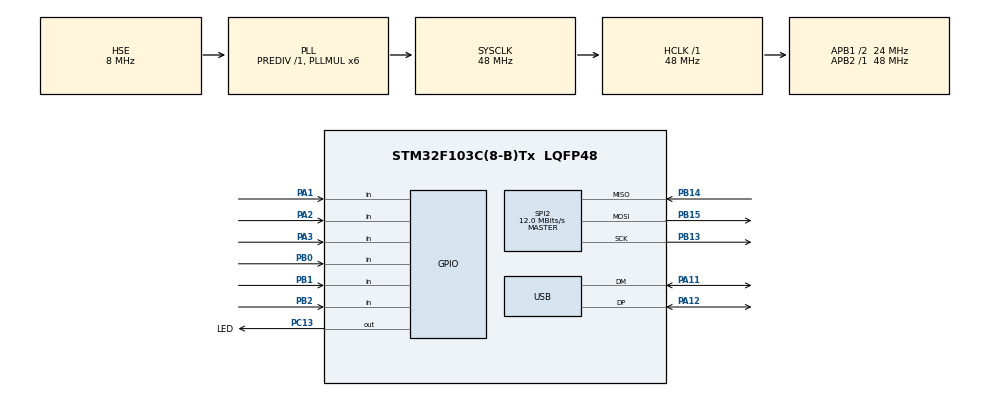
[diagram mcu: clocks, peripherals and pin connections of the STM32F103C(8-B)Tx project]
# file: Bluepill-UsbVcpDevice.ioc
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ADC1.Channel-13\#ChannelRegularConversion=ADC_CHANNEL_TEMPSENSOR
ADC1.ContinuousConvMode=DISABLE
ADC1.ExternalTrigConv=ADC_EXTERNALTRIGCONV_T4_CC4
ADC1.NbrOfConversionFlag=1
ADC1.Rank-13\#ChannelRegularConversion=1
ADC1.SamplingTime-13\#ChannelRegularConversion=ADC_SAMPLETIME_239CYCLES_5
ADC1.master=1
Mcu.Family=STM32F1
Mcu.Name=STM32F103C(8-B)Tx
Mcu.Package=LQFP48
NVIC.ADC1_2_IRQn=true\:0\:0\:false\:false\:true\:true\:true
NVIC.PriorityGroup=NVIC_PRIORITYGROUP_4
NVIC.TIM4_IRQn=true\:0\:0\:false\:false\:true\:true\:true
NVIC.USB_LP_CAN1_RX0_IRQn=true\:0\:0\:false\:false\:true\:false\:true
PA1.Signal=GPIO_Input
PA11.Mode=Device
PA11.Signal=USB_DM
PA12.Mode=Device
PA12.Signal=USB_DP
PA2.Signal=GPIO_Input
PA3.Signal=GPIO_Input
PB0.Signal=GPIO_Input
PB1.Signal=GPIO_Input
PB13.Mode=Full_Duplex_Master
PB13.Signal=SPI2_SCK
PB14.Mode=Full_Duplex_Master
PB14.Signal=SPI2_MISO
PB15.Mode=Full_Duplex_Master
PB15.Signal=SPI2_MOSI
PB2.Signal=GPIO_Input
PC13-TAMPER-RTC.GPIO_Label=LED
PC13-TAMPER-RTC.GPIO_ModeDefaultOutputPP=GPIO_MODE_OUTPUT_PP
PC13-TAMPER-RTC.GPIO_PuPd=GPIO_PULLUP
PC13-TAMPER-RTC.GPIO_Speed=GPIO_SPEED_FREQ_LOW
PC13-TAMPER-RTC.PinState=GPIO_PIN_SET
PC13-TAMPER-RTC.Signal=GPIO_Output
PC14-OSC32_IN.Mode=LSE-External-Oscillator
PC14-OSC32_IN.Signal=RCC_OSC32_IN
PC15-OSC32_OUT.Mode=LSE-External-Oscillator
PC15-OSC32_OUT.Signal=RCC_OSC32_OUT
PD0-OSC_IN.Mode=HSE-External-Oscillator
PD0-OSC_IN.Signal=RCC_OSC_IN
PD1-OSC_OUT.Mode=HSE-External-Oscillator
PD1-OSC_OUT.Signal=RCC_OSC_OUT
ProjectManager.HeapSize=0x600
ProjectManager.StackSize=0x400
ProjectManager.TargetToolchain=Makefile
RCC.ADCPresc=RCC_ADCPCLK2_DIV4
RCC.AHBFreq_Value=48000000
RCC.APB1CLKDivider=RCC_HCLK_DIV2
RCC.APB1Freq_Value=24000000
RCC.APB1TimFreq_Value=48000000
RCC.APB2Freq_Value=48000000
RCC.APB2TimFreq_Value=48000000
RCC.HCLKFreq_Value=48000000
RCC.PLLMUL=RCC_PLL_MUL6
RCC.PLLSourceVirtual=RCC_PLLSOURCE_HSE
RCC.SYSCLKFreq_VALUE=48000000
RCC.SYSCLKSource=RCC_SYSCLKSOURCE_PLLCLK
RCC.USBFreq_Value=48000000
SPI2.CalculateBaudRate=12.0 MBits/s
SPI2.Direction=SPI_DIRECTION_2LINES
SPI2.Mode=SPI_MODE_MASTER
SPI2.VirtualType=VM_MASTER
TIM4.Channel-Output\ Compare4\ No\ Output=TIM_CHANNEL_4
TIM4.ClockDivision=TIM_CLOCKDIVISION_DIV1
TIM4.OCMode_4=TIM_OCMODE_TOGGLE
TIM4.Prescaler=32767
TIM4.Pulse-Output\ Compare4\ No\ Output=732
USB_DEVICE.CLASS_NAME_FS=CDC
USB_DEVICE.VirtualMode=Cdc
USB_DEVICE.VirtualModeFS=Cdc_FS
VP_ADC1_TempSens_Input.Mode=IN-TempSens
VP_SYS_VS_ND.Mode=No_Debug
VP_TIM4_VS_ClockSourceINT.Mode=Internal
VP_TIM4_VS_no_output4.Mode=Output Compare4 No Output
VP_USB_DEVICE_VS_USB_DEVICE_CDC_FS.Mode=CDC_FS
board=custom

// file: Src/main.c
/* USER CODE BEGIN Header */
/**
  ******************************************************************************
  * @file           : main.c
  * @brief          : Main program body
  ******************************************************************************
  * @attention
  *
  * <h2><center>&copy; Copyright (c) 2020 STMicroelectronics.
  * All rights reserved.</center></h2>
  *
  * This software component is licensed by ST under BSD 3-Clause license,
  * the "License"; You may not use this file except in compliance with the
  * License. You may obtain a copy of the License at:
  *                        opensource.org/licenses/BSD-3-Clause
  *
  ******************************************************************************
  */
/* USER CODE END Header */
#include "main.h"
#include "usb_device.h"

/* USER CODE BEGIN Includes */
#include "usbd_cdc_if.h"
#include "string.h"
#include "stdbool.h"

/* USER CODE END Includes */

ADC_HandleTypeDef hadc1;

SPI_HandleTypeDef hspi2;

TIM_HandleTypeDef htim4;

/* USER CODE BEGIN PV */

/* Interval calculation:
 *  + APB1 Timer clock : 48MHz
 *  + Timer Prescaler 16-bits : 32767
 *  + Internal Clock Division : 1 # No Clock Division in STM32F103C8T6 !!!!
 *  + Maximum interval [65536]: (1/(48000000/32767))*65536 = 1/1464.888 * 65536 = 44.7378s
 *  + CCR4 interval in 1 sec  : (1/(48000000/32767))*1464 = 0.999s
 */
uint16_t gui16Tim4CCR4Step = 1464; // 1 sec
uint32_t gui32StopSampling = 0;
/* USER CODE END PV */

void SystemClock_Config(void);
static void MX_GPIO_Init(void);
static void MX_SPI2_Init(void);
static void MX_ADC1_Init(void);
static void MX_TIM4_Init(void);

/* USER CODE BEGIN 0 */
const char *data = "Hello World from USB CDC\r\n";

/* USER CODE END 0 */

int main(void)
{

  /* MCU Configuration--------------------------------------------------------*/

  /* Reset of all peripherals, Initializes the Flash interface and the Systick. */
  HAL_Init();

  /* Configure the system clock */
  SystemClock_Config();

  /* Initialize all configured peripherals */
  MX_GPIO_Init();
  MX_USB_DEVICE_Init();
  MX_SPI2_Init();
  MX_ADC1_Init();
  MX_TIM4_Init();

  /* Infinite loop */
  /* USER CODE BEGIN WHILE */
  Turn_On_StatusLED();
  while (1)
  {
    /* USER CODE END WHILE */

    /* USER CODE BEGIN 3 */
    if ((gui16Tim4CCR4Step == 0) && (gui32StopSampling == 0)) {
      HAL_ADC_Stop_IT(&hadc1);
      HAL_TIM_OC_Stop_IT(&htim4, TIM_CHANNEL_4);
      gui16Tim4CCR4Step = 1464;
      Turn_On_StatusLED();
    }
  }
  /* USER CODE END 3 */
}

void SystemClock_Config(void)
{
  RCC_OscInitTypeDef RCC_OscInitStruct = {0};
  RCC_ClkInitTypeDef RCC_ClkInitStruct = {0};
  RCC_PeriphCLKInitTypeDef PeriphClkInit = {0};

  /** Initializes the RCC Oscillators according to the specified parameters
  * in the RCC_OscInitTypeDef structure.
  */
  RCC_OscInitStruct.OscillatorType = RCC_OSCILLATORTYPE_HSE;
  RCC_OscInitStruct.HSEState = RCC_HSE_ON;
  RCC_OscInitStruct.HSEPredivValue = RCC_HSE_PREDIV_DIV1;
  RCC_OscInitStruct.HSIState = RCC_HSI_ON;
  RCC_OscInitStruct.PLL.PLLState = RCC_PLL_ON;
  RCC_OscInitStruct.PLL.PLLSource = RCC_PLLSOURCE_HSE;
  RCC_OscInitStruct.PLL.PLLMUL = RCC_PLL_MUL6;
  if (HAL_RCC_OscConfig(&RCC_OscInitStruct) != HAL_OK)
  {
    Error_Handler();
  }
  /** Initializes the CPU, AHB and APB buses clocks
  */
  RCC_ClkInitStruct.ClockType = RCC_CLOCKTYPE_HCLK|RCC_CLOCKTYPE_SYSCLK
                              |RCC_CLOCKTYPE_PCLK1|RCC_CLOCKTYPE_PCLK2;
  RCC_ClkInitStruct.SYSCLKSource = RCC_SYSCLKSOURCE_PLLCLK;
  RCC_ClkInitStruct.AHBCLKDivider = RCC_SYSCLK_DIV1;
  RCC_ClkInitStruct.APB1CLKDivider = RCC_HCLK_DIV2;
  RCC_ClkInitStruct.APB2CLKDivider = RCC_HCLK_DIV1;

  if (HAL_RCC_ClockConfig(&RCC_ClkInitStruct, FLASH_LATENCY_1) != HAL_OK)
  {
    Error_Handler();
  }
  PeriphClkInit.PeriphClockSelection = RCC_PERIPHCLK_ADC|RCC_PERIPHCLK_USB;
  PeriphClkInit.AdcClockSelection = RCC_ADCPCLK2_DIV4;
  PeriphClkInit.UsbClockSelection = RCC_USBCLKSOURCE_PLL;
  if (HAL_RCCEx_PeriphCLKConfig(&PeriphClkInit) != HAL_OK)
  {
    Error_Handler();
  }
}

static void MX_ADC1_Init(void)
{

  ADC_ChannelConfTypeDef sConfig = {0};

  /** Common config
  */
  hadc1.Instance = ADC1;
  hadc1.Init.ScanConvMode = ADC_SCAN_DISABLE;
  hadc1.Init.ContinuousConvMode = DISABLE;
  hadc1.Init.DiscontinuousConvMode = DISABLE;
  hadc1.Init.ExternalTrigConv = ADC_EXTERNALTRIGCONV_T4_CC4;
  hadc1.Init.DataAlign = ADC_DATAALIGN_RIGHT;
  hadc1.Init.NbrOfConversion = 1;
  if (HAL_ADC_Init(&hadc1) != HAL_OK)
  {
    Error_Handler();
  }
  /** Configure Regular Channel
  */
  sConfig.Channel = ADC_CHANNEL_TEMPSENSOR;
  sConfig.Rank = ADC_REGULAR_RANK_1;
  sConfig.SamplingTime = ADC_SAMPLETIME_239CYCLES_5;
  if (HAL_ADC_ConfigChannel(&hadc1, &sConfig) != HAL_OK)
  {
    Error_Handler();
  }

}

static void MX_SPI2_Init(void)
{

  /* SPI2 parameter configuration*/
  hspi2.Instance = SPI2;
  hspi2.Init.Mode = SPI_MODE_MASTER;
  hspi2.Init.Direction = SPI_DIRECTION_2LINES;
  hspi2.Init.DataSize = SPI_DATASIZE_8BIT;
  hspi2.Init.CLKPolarity = SPI_POLARITY_LOW;
  hspi2.Init.CLKPhase = SPI_PHASE_1EDGE;
  hspi2.Init.NSS = SPI_NSS_SOFT;
  hspi2.Init.BaudRatePrescaler = SPI_BAUDRATEPRESCALER_2;
  hspi2.Init.FirstBit = SPI_FIRSTBIT_MSB;
  hspi2.Init.TIMode = SPI_TIMODE_DISABLE;
  hspi2.Init.CRCCalculation = SPI_CRCCALCULATION_DISABLE;
  hspi2.Init.CRCPolynomial = 10;
  if (HAL_SPI_Init(&hspi2) != HAL_OK)
  {
    Error_Handler();
  }

}

static void MX_TIM4_Init(void)
{

  TIM_ClockConfigTypeDef sClockSourceConfig = {0};
  TIM_MasterConfigTypeDef sMasterConfig = {0};
  TIM_OC_InitTypeDef sConfigOC = {0};

  htim4.Instance = TIM4;
  htim4.Init.Prescaler = 32767;
  htim4.Init.CounterMode = TIM_COUNTERMODE_UP;
  htim4.Init.Period = 65535;
  htim4.Init.ClockDivision = TIM_CLOCKDIVISION_DIV1;
  htim4.Init.AutoReloadPreload = TIM_AUTORELOAD_PRELOAD_DISABLE;
  if (HAL_TIM_Base_Init(&htim4) != HAL_OK)
  {
    Error_Handler();
  }
  sClockSourceConfig.ClockSource = TIM_CLOCKSOURCE_INTERNAL;
  if (HAL_TIM_ConfigClockSource(&htim4, &sClockSourceConfig) != HAL_OK)
  {
    Error_Handler();
  }
  if (HAL_TIM_OC_Init(&htim4) != HAL_OK)
  {
    Error_Handler();
  }
  sMasterConfig.MasterOutputTrigger = TIM_TRGO_RESET;
  sMasterConfig.MasterSlaveMode = TIM_MASTERSLAVEMODE_DISABLE;
  if (HAL_TIMEx_MasterConfigSynchronization(&htim4, &sMasterConfig) != HAL_OK)
  {
    Error_Handler();
  }
  sConfigOC.OCMode = TIM_OCMODE_TOGGLE;
  sConfigOC.Pulse = 732;
  sConfigOC.OCPolarity = TIM_OCPOLARITY_HIGH;
  sConfigOC.OCFastMode = TIM_OCFAST_DISABLE;
  if (HAL_TIM_OC_ConfigChannel(&htim4, &sConfigOC, TIM_CHANNEL_4) != HAL_OK)
  {
    Error_Handler();
  }

}

static void MX_GPIO_Init(void)
{
  GPIO_InitTypeDef GPIO_InitStruct = {0};

  /* GPIO Ports Clock Enable */
  __HAL_RCC_GPIOC_CLK_ENABLE();
  __HAL_RCC_GPIOD_CLK_ENABLE();
  __HAL_RCC_GPIOA_CLK_ENABLE();
  __HAL_RCC_GPIOB_CLK_ENABLE();

  /*Configure GPIO pin Output Level */
  HAL_GPIO_WritePin(LED_GPIO_Port, LED_Pin, GPIO_PIN_SET);

  /*Configure GPIO pin : LED_Pin */
  GPIO_InitStruct.Pin = LED_Pin;
  GPIO_InitStruct.Mode = GPIO_MODE_OUTPUT_PP;
  GPIO_InitStruct.Pull = GPIO_PULLUP;
  GPIO_InitStruct.Speed = GPIO_SPEED_FREQ_LOW;
  HAL_GPIO_Init(LED_GPIO_Port, &GPIO_InitStruct);

  /*Configure GPIO pins : PA1 PA2 PA3 */
  GPIO_InitStruct.Pin = GPIO_PIN_1|GPIO_PIN_2|GPIO_PIN_3;
  GPIO_InitStruct.Mode = GPIO_MODE_INPUT;
  GPIO_InitStruct.Pull = GPIO_NOPULL;
  HAL_GPIO_Init(GPIOA, &GPIO_InitStruct);

  /*Configure GPIO pins : PB0 PB1 PB2 */
  GPIO_InitStruct.Pin = GPIO_PIN_0|GPIO_PIN_1|GPIO_PIN_2;
  GPIO_InitStruct.Mode = GPIO_MODE_INPUT;
  GPIO_InitStruct.Pull = GPIO_NOPULL;
  HAL_GPIO_Init(GPIOB, &GPIO_InitStruct);

}

/* USER CODE BEGIN 4 */

void Turn_On_StatusLED(void) {
  HAL_GPIO_WritePin(LED_GPIO_Port, LED_Pin, GPIO_PIN_RESET);
}

void Turn_Off_StatusLED(void) {
  HAL_GPIO_WritePin(LED_GPIO_Port, LED_Pin, GPIO_PIN_SET);
}

void Toggle_StatusLED(void) {
  HAL_GPIO_TogglePin(LED_GPIO_Port, LED_Pin);
}

/**
  * @brief  Conversion complete callback in non blocking mode
  * @param  hadc: ADC handle
  * @retval None
  */
void HAL_ADC_ConvCpltCallback(ADC_HandleTypeDef* hadc)
{
  uint8_t txBuf[5];
  uint32_t result = HAL_ADC_GetValue(hadc);

  txBuf[0] = 'V';
  txBuf[1] = (result >> 8) & 0xFF;
  txBuf[2] = result & 0xFF;
  txBuf[3] = '\r';
  txBuf[4] = '\n';
  CDC_Transmit_FS(txBuf, 5);

  /* HACK: stop sampling after sending ten more sample */
  if (gui16Tim4CCR4Step == 0) {
    if (gui32StopSampling) {
      --gui32StopSampling;
    }
  }
}

/**
  * @brief  Output Compare callback in non-blocking mode
  * @param  htim TIM OC handle
  * @retval None
  */
void HAL_TIM_OC_DelayElapsedCallback(TIM_HandleTypeDef *htim)
{
  if (TIM4 == htim->Instance) {
    if (gui16Tim4CCR4Step == 0) {
      htim4.Instance->CCR4 += 100;
    } else {
      htim4.Instance->CCR4 += gui16Tim4CCR4Step;
    }
  }
}
/* USER CODE END 4 */

void Error_Handler(void)
{
  __disable_irq();
  while (1)
  {
  }
}

/************************ (C) COPYRIGHT STMicroelectronics *****END OF FILE****/
